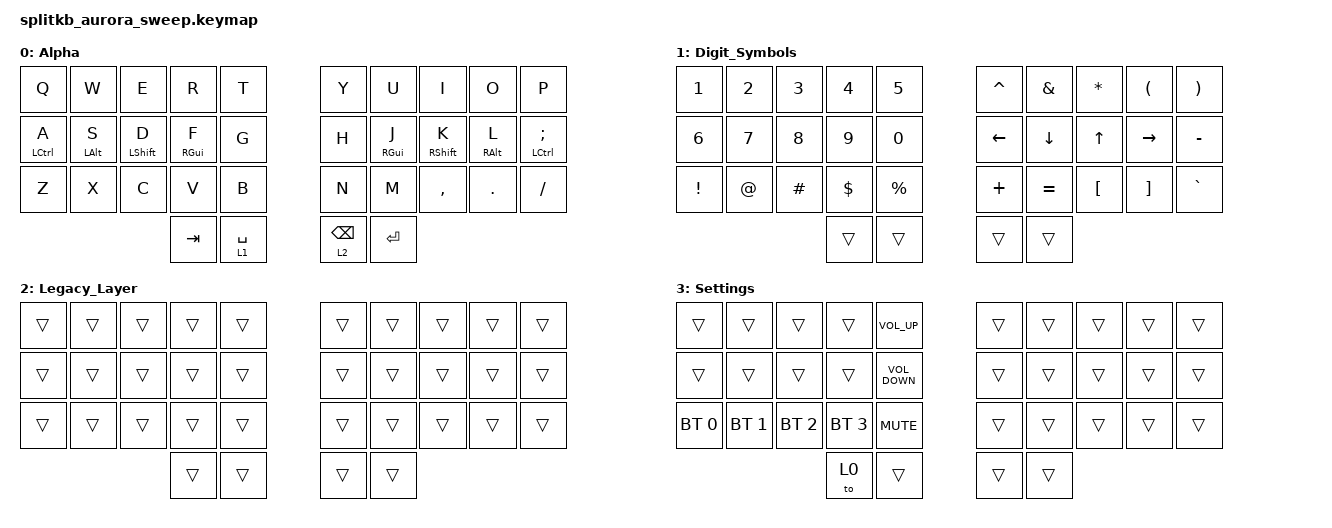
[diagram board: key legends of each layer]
/*
 * Copyright (c) 2022 The ZMK Contributors
 *
 * SPDX-License-Identifier: MIT
 */

#include <behaviors.dtsi>
#include <dt-bindings/zmk/bt.h>
#include <dt-bindings/zmk/keys.h>

&mt {
    //  flavor = "tap-preferred";
    // tapping-term-ms = <200>;
};

/ {
    behaviors {
        hml: homerow_mods_left {
            compatible = "zmk,behavior-hold-tap";
            #binding-cells = <2>;
            bindings = <&kp>, <&kp>;

            flavor = "balanced";
            tapping-term-ms = <280>;
            quick-tap-ms = <175>;
            require-prior-idle-ms = <150>;
            hold-trigger-key-positions = <5 6 7 8 9 15 16 17 18 19 25 26 27 28 29 30 32 33>;
            hold-trigger-on-release;
        };

        hmr: homerow_mods_right {
            compatible = "zmk,behavior-hold-tap";
            #binding-cells = <2>;
            bindings = <&kp>, <&kp>;

            flavor = "balanced";
            tapping-term-ms = <280>;
            quick-tap-ms = <175>;
            require-prior-idle-ms = <150>;
            hold-trigger-key-positions = <0 1 2 3 4 10 11 12 13 14 20 21 22 23 24 30 31>;
            hold-trigger-on-release;
        };
    };

    combos {
        compatible = "zmk,combos";

        Escape {
            bindings = <&kp ESC>;
            key-positions = <16 17>;
        };

        bt_settings {
            bindings = <&to 3>;
            key-positions = <0 20>;
        };
    };

    keymap {
        compatible = "zmk,keymap";

        Alpha {
            bindings = <
&kp Q         &kp W            &kp E              &kp R        &kp T    &kp Y  &kp U        &kp I               &kp O             &kp P
&hml LCTRL A  &hml LEFT_ALT S  &hml LEFT_SHIFT D  &hml RGUI F  &kp G    &kp H  &hmr RGUI J  &hmr RIGHT_SHIFT K  &hmr RIGHT_ALT L  &hmr LCTRL SEMICOLON
&kp Z         &kp X            &kp C              &kp V        &kp B    &kp N  &kp M        &kp COMMA           &kp DOT           &kp FSLH
&kp TAB       &lt 1 SPACE                                                                                       &lt 2 BACKSPACE   &kp ENTER
            >;
        };

        Digit_Symbols {
            bindings = <
&kp N1    &kp N2       &kp N3    &kp N4      &kp N5         &kp CARET       &kp AMPERSAND   &kp ASTERISK      &kp LEFT_PARENTHESIS  &kp RIGHT_PARENTHESIS
&kp N6    &kp N7       &kp N8    &kp N9      &kp N0         &kp LEFT_ARROW  &kp DOWN_ARROW  &kp UP_ARROW      &kp RIGHT             &kp MINUS
&kp EXCL  &kp AT_SIGN  &kp HASH  &kp DOLLAR  &kp PERCENT    &kp PLUS        &kp EQUAL       &kp LEFT_BRACKET  &kp RIGHT_BRACKET     &kp GRAVE
&trans    &trans                                                                                              &trans                &trans
            >;
        };

        Legacy_Layer {
            bindings = <
&trans  &trans  &trans  &trans  &trans    &trans  &trans  &trans  &trans  &trans
&trans  &trans  &trans  &trans  &trans    &trans  &trans  &trans  &trans  &trans
&trans  &trans  &trans  &trans  &trans    &trans  &trans  &trans  &trans  &trans
&trans  &trans                                                    &trans  &trans
            >;
        };

        Settings {
            bindings = <
&trans        &trans        &trans        &trans        &kp C_VOLUME_UP      &trans  &trans  &trans  &trans  &trans
&trans        &trans        &trans        &trans        &kp C_VOLUME_DOWN    &trans  &trans  &trans  &trans  &trans
&bt BT_SEL 0  &bt BT_SEL 1  &bt BT_SEL 2  &bt BT_SEL 3  &kp C_MUTE           &trans  &trans  &trans  &trans  &trans
&to 0         &trans                                                                                 &trans  &trans
            >;
        };
    };
};
